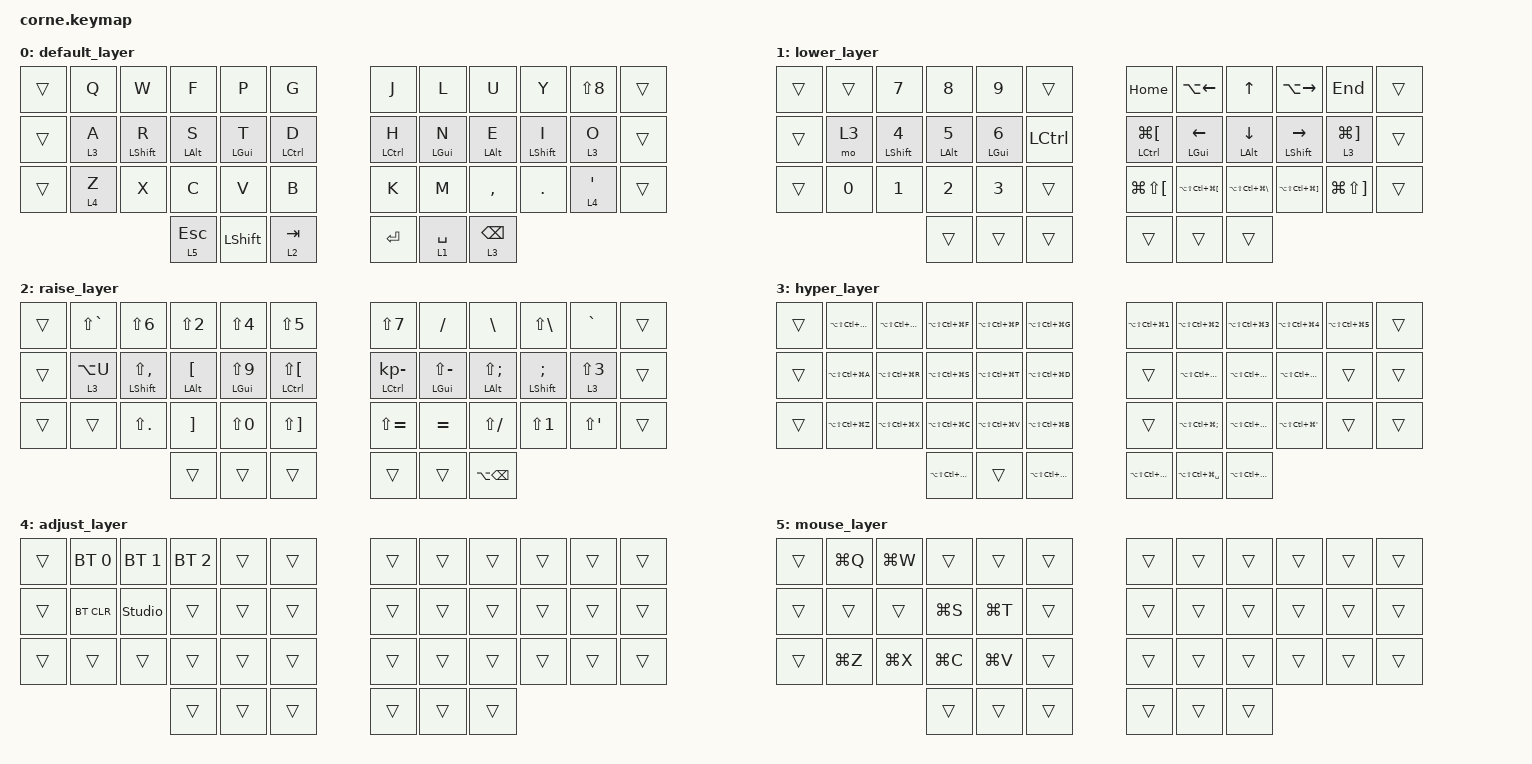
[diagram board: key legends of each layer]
// This file is automatically generated from README.md
#include <behaviors.dtsi>
#include <dt-bindings/zmk/keys.h>
#include <dt-bindings/zmk/bt.h>

/ {
    behaviors {
        // Customized mod_tap and layer_tap:
        // - mod_tap is 'tap preferred' as it's used on home-row
        // - layer_tap uses balanced flavor
        mt_: custom_mod_tap {
            compatible = "zmk,behavior-hold-tap";
            label = "MOD_TAP";
            #binding-cells = <2>;
            flavor = "tap-preferred";
            tapping-term-ms = <200>;
            bindings = <&kp>, <&kp>;
        };
        lt_: custom_layer_tap {
            compatible = "zmk,behavior-hold-tap";
            label = "LAYER_TAP";
            #binding-cells = <2>;
            flavor = "balanced";
            tapping-term-ms = <200>;
            bindings = <&mo>, <&kp>;
        };
    };

    keymap {
            compatible = "zmk,keymap";

            default_layer {
                    bindings = <
&trans &kp Q &kp W &kp F &kp P &kp G &kp J &kp L &kp U &kp Y &kp LS(N8) &trans
&trans &lt_ 3 A &mt_ LSHFT R &mt_ LALT S &mt_ LGUI T &mt_ LCTRL D &mt_ LCTRL H &mt_ LGUI N &mt_ LALT E &mt_ LSHFT I &lt_ 3 O &trans
&trans &lt_ 4 Z &kp X &kp C &kp V &kp B &kp K &kp M &kp COMMA &kp DOT &lt_ 4 SQT &trans
&lt_ 5 ESC &kp LSHFT &lt_ 2 TAB &kp RET &lt_ 1 SPC &lt_ 3 BKSP
                    >;
            };

            lower_layer {
                    bindings = <
&trans &trans &kp N7 &kp N8 &kp N9 &trans &kp HOME &kp LA(LEFT) &kp UP &kp LA(RIGHT) &kp END &trans
&trans &mo 3 &mt_ LSHFT N4 &mt_ LALT N5 &mt_ LGUI N6 &kp LCTRL &mt_ LCTRL LG(LBKT) &mt_ LGUI LEFT &mt_ LALT DOWN &mt_ LSHFT RIGHT &lt_ 3 LG(RBKT) &trans
&trans &kp N0 &kp N1 &kp N2 &kp N3 &trans &kp LG(LS(LBKT)) &kp LA(LS(LC(LG(LBKT)))) &kp LA(LS(LC(LG(BSLH)))) &kp LA(LS(LC(LG(RBKT)))) &kp LG(LS(RBKT)) &trans
&trans &trans &trans &trans &trans &trans
                    >;
            };

            raise_layer {
                    bindings = <
&trans &kp LS(GRAVE) &kp LS(N6) &kp LS(N2) &kp LS(N4) &kp LS(N5) &kp LS(N7) &kp FSLH &kp BSLH &kp LS(BSLH) &kp GRAVE &trans
&trans &lt_ 3 LA(U) &mt_ LSHFT LS(COMMA) &mt_ LALT LBKT &mt_ LGUI LS(N9) &mt_ LCTRL LS(LBKT) &mt_ LCTRL KP_MINUS &mt_ LGUI LS(MINUS) &mt_ LALT LS(SEMI) &mt_ LSHFT SEMI &lt_ 3 LS(N3) &trans
&trans &trans &kp LS(DOT) &kp RBKT &kp LS(N0) &kp LS(RBKT) &kp LS(EQUAL) &kp EQUAL &kp LS(FSLH) &kp LS(N1) &kp LS(SQT) &trans
&trans &trans &trans &trans &trans &kp LA(BKSP)
                    >;
            };

            hyper_layer {
                    bindings = <
&trans &kp LA(LS(LC(LG(Q)))) &kp LA(LS(LC(LG(W)))) &kp LA(LS(LC(LG(F)))) &kp LA(LS(LC(LG(P)))) &kp LA(LS(LC(LG(G)))) &kp LA(LS(LC(LG(N1)))) &kp LA(LS(LC(LG(N2)))) &kp LA(LS(LC(LG(N3)))) &kp LA(LS(LC(LG(N4)))) &kp LA(LS(LC(LG(N5)))) &trans
&trans &kp LA(LS(LC(LG(A)))) &kp LA(LS(LC(LG(R)))) &kp LA(LS(LC(LG(S)))) &kp LA(LS(LC(LG(T)))) &kp LA(LS(LC(LG(D)))) &trans &kp LA(LS(LC(LG(LEFT)))) &kp LA(LS(LC(LG(UP)))) &kp LA(LS(LC(LG(RIGHT)))) &trans &trans
&trans &kp LA(LS(LC(LG(Z)))) &kp LA(LS(LC(LG(X)))) &kp LA(LS(LC(LG(C)))) &kp LA(LS(LC(LG(V)))) &kp LA(LS(LC(LG(B)))) &trans &kp LA(LS(LC(LG(SEMI)))) &kp LA(LS(LC(LG(DOWN)))) &kp LA(LS(LC(LG(SQT)))) &trans &trans
&kp LA(LS(LC(LG(ESC)))) &trans &kp LA(LS(LC(LG(TAB)))) &kp LA(LS(LC(LG(RET)))) &kp LA(LS(LC(LG(SPC)))) &kp LA(LS(LC(LG(BKSP))))
                    >;
            };

            adjust_layer {
                    bindings = <
&trans &bt BT_SEL 0 &bt BT_SEL 1 &bt BT_SEL 2 &trans &trans &trans &trans &trans &trans &trans &trans
&trans &bt BT_CLR &studio_unlock &trans &trans &trans &trans &trans &trans &trans &trans &trans
&trans &trans &trans &trans &trans &trans &trans &trans &trans &trans &trans &trans
&trans &trans &trans &trans &trans &trans
                    >;
            };

            mouse_layer {
                    bindings = <
&trans &kp LG(Q) &kp LG(W) &trans &trans &trans &trans &trans &trans &trans &trans &trans
&trans &trans &trans &kp LG(S) &kp LG(T) &trans &trans &trans &trans &trans &trans &trans
&trans &kp LG(Z) &kp LG(X) &kp LG(C) &kp LG(V) &trans &trans &trans &trans &trans &trans &trans
&trans &trans &trans &trans &trans &trans
                    >;
            };
        };
};
